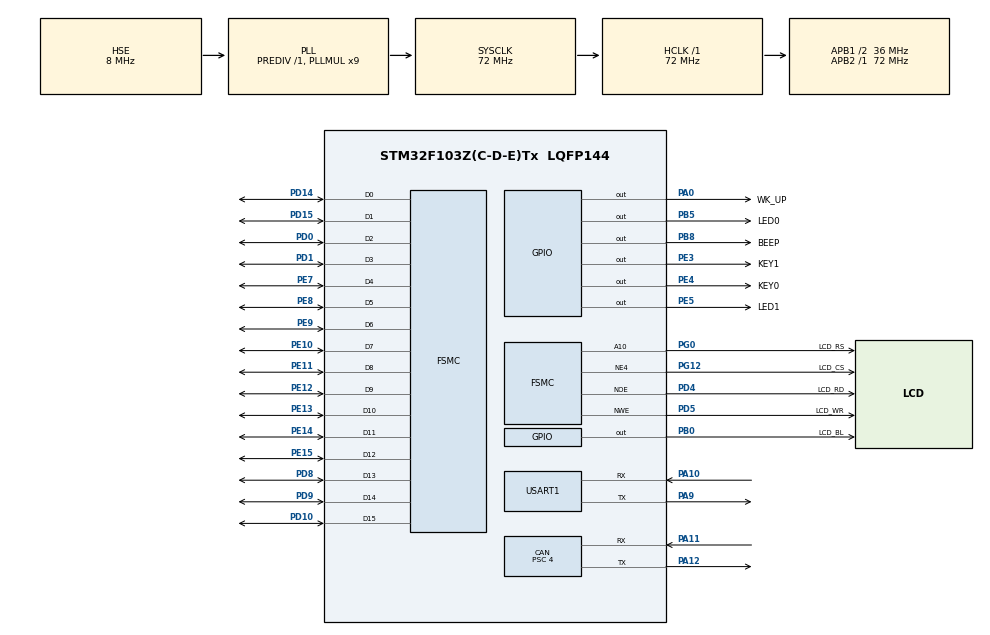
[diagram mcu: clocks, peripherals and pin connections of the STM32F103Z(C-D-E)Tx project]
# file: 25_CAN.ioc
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CAN.BS1=CAN_BS1_9TQ
CAN.BS2=CAN_BS2_8TQ
CAN.CalculateBaudRate=500000
CAN.CalculateTimeBit=2000
CAN.CalculateTimeQuantum=111.11111111111111
CAN.Mode=CAN_MODE_LOOPBACK
CAN.NART=ENABLE
CAN.Prescaler=4
CAN.SJW=CAN_SJW_1TQ
FSMC.AddressSetupTime1=0
FSMC.BusTurnAroundDuration1=15
FSMC.DataSetupTime1=15
FSMC.ExtendedAddressSetupTime1=0
FSMC.ExtendedDataSetupTime1=1
FSMC.ExtendedMode1=FSMC_EXTENDED_MODE_ENABLE
Mcu.Family=STM32F1
Mcu.Name=STM32F103Z(C-D-E)Tx
Mcu.Package=LQFP144
NVIC.PriorityGroup=NVIC_PRIORITYGROUP_2
NVIC.USART1_IRQn=true\:2\:2\:true\:false\:true\:true\:true\:true
OSC_IN.Mode=HSE-External-Oscillator
OSC_IN.Signal=RCC_OSC_IN
OSC_OUT.Mode=HSE-External-Oscillator
OSC_OUT.Signal=RCC_OSC_OUT
PA0-WKUP.GPIO_Label=WK_UP
PA0-WKUP.GPIO_PuPd=GPIO_PULLDOWN
PA0-WKUP.GPIO_Speed=GPIO_SPEED_FREQ_HIGH
PA0-WKUP.PinState=GPIO_PIN_RESET
PA0-WKUP.Signal=GPIO_Output
PA10.Mode=Asynchronous
PA10.Signal=USART1_RX
PA11.Mode=CAN_Activate
PA11.Signal=CAN_RX
PA12.Mode=CAN_Activate
PA12.Signal=CAN_TX
PA13.Mode=Serial_Wire
PA13.Signal=SYS_JTMS-SWDIO
PA14.Mode=Serial_Wire
PA14.Signal=SYS_JTCK-SWCLK
PA9.Mode=Asynchronous
PA9.Signal=USART1_TX
PB0.GPIO_Label=LCD_BL
PB0.GPIO_PuPd=GPIO_PULLUP
PB0.GPIO_Speed=GPIO_SPEED_FREQ_HIGH
PB0.PinState=GPIO_PIN_SET
PB0.Signal=GPIO_Output
PB5.GPIO_Label=LED0
PB5.GPIO_PuPd=GPIO_PULLUP
PB5.GPIO_Speed=GPIO_SPEED_FREQ_HIGH
PB5.PinState=GPIO_PIN_SET
PB5.Signal=GPIO_Output
PB8.GPIO_Label=BEEP
PB8.GPIO_ModeDefaultOutputPP=GPIO_MODE_OUTPUT_PP
PB8.GPIO_PuPd=GPIO_PULLDOWN
PB8.GPIO_Speed=GPIO_SPEED_FREQ_HIGH
PB8.PinState=GPIO_PIN_RESET
PB8.Signal=GPIO_Output
PC14-OSC32_IN.Mode=LSE-External-Oscillator
PC14-OSC32_IN.Signal=RCC_OSC32_IN
PC15-OSC32_OUT.Mode=LSE-External-Oscillator
PC15-OSC32_OUT.Signal=RCC_OSC32_OUT
PD0.Signal=FSMC_D2_DA2
PD1.Signal=FSMC_D3_DA3
PD10.Signal=FSMC_D15_DA15
PD14.Signal=FSMC_D0_DA0
PD15.Signal=FSMC_D1_DA1
PD4.GPIO_Label=LCD_RD
PD4.Signal=FSMC_NOE
PD5.GPIO_Label=LCD_WR
PD5.Signal=FSMC_NWE
PD8.Signal=FSMC_D13_DA13
PD9.Signal=FSMC_D14_DA14
PE10.Signal=FSMC_D7_DA7
PE11.Signal=FSMC_D8_DA8
PE12.Signal=FSMC_D9_DA9
PE13.Signal=FSMC_D10_DA10
PE14.Signal=FSMC_D11_DA11
PE15.Signal=FSMC_D12_DA12
PE3.GPIO_Label=KEY1
PE3.GPIO_PuPd=GPIO_PULLUP
PE3.GPIO_Speed=GPIO_SPEED_FREQ_HIGH
PE3.PinState=GPIO_PIN_SET
PE3.Signal=GPIO_Output
PE4.GPIO_Label=KEY0
PE4.GPIO_PuPd=GPIO_PULLUP
PE4.GPIO_Speed=GPIO_SPEED_FREQ_HIGH
PE4.PinState=GPIO_PIN_SET
PE4.Signal=GPIO_Output
PE5.GPIO_Label=LED1
PE5.GPIO_PuPd=GPIO_PULLUP
PE5.GPIO_Speed=GPIO_SPEED_FREQ_HIGH
PE5.PinState=GPIO_PIN_SET
PE5.Signal=GPIO_Output
PE7.Signal=FSMC_D4_DA4
PE8.Signal=FSMC_D5_DA5
PE9.Signal=FSMC_D6_DA6
PG0.GPIO_Label=LCD_RS
PG0.Signal=FSMC_A10
PG12.GPIO_Label=LCD_CS
PG12.Mode=NorPsramChipSelect4_1
PG12.Signal=FSMC_NE4
ProjectManager.HeapSize=0x200
ProjectManager.StackSize=0x400
ProjectManager.TargetToolchain=STM32CubeIDE
RCC.AHBFreq_Value=72000000
RCC.APB1CLKDivider=RCC_HCLK_DIV2
RCC.APB1Freq_Value=36000000
RCC.APB1TimFreq_Value=72000000
RCC.APB2Freq_Value=72000000
RCC.APB2TimFreq_Value=72000000
RCC.HCLKFreq_Value=72000000
RCC.PLLMUL=RCC_PLL_MUL9
RCC.PLLSourceVirtual=RCC_PLLSOURCE_HSE
RCC.SYSCLKFreq_VALUE=72000000
RCC.SYSCLKSource=RCC_SYSCLKSOURCE_PLLCLK
RCC.USBFreq_Value=72000000
SH.FSMC_A10.0=FSMC_A10,A10_1
SH.FSMC_D0_DA0.0=FSMC_D0,16b-d1
SH.FSMC_D10_DA10.0=FSMC_D10,16b-d1
SH.FSMC_D11_DA11.0=FSMC_D11,16b-d1
SH.FSMC_D12_DA12.0=FSMC_D12,16b-d1
SH.FSMC_D13_DA13.0=FSMC_D13,16b-d1
SH.FSMC_D14_DA14.0=FSMC_D14,16b-d1
SH.FSMC_D15_DA15.0=FSMC_D15,16b-d1
SH.FSMC_D1_DA1.0=FSMC_D1,16b-d1
SH.FSMC_D2_DA2.0=FSMC_D2,16b-d1
SH.FSMC_D3_DA3.0=FSMC_D3,16b-d1
SH.FSMC_D4_DA4.0=FSMC_D4,16b-d1
SH.FSMC_D5_DA5.0=FSMC_D5,16b-d1
SH.FSMC_D6_DA6.0=FSMC_D6,16b-d1
SH.FSMC_D7_DA7.0=FSMC_D7,16b-d1
SH.FSMC_D8_DA8.0=FSMC_D8,16b-d1
SH.FSMC_D9_DA9.0=FSMC_D9,16b-d1
SH.FSMC_NOE.0=FSMC_NOE,Lcd1
SH.FSMC_NWE.0=FSMC_NWE,Lcd1
USART1.VirtualMode=VM_ASYNC
board=custom

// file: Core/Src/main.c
/* USER CODE BEGIN Header */

/* USER CODE END Header */
#include "main.h"
#include "can.h"
#include "usart.h"
#include "gpio.h"
#include "fsmc.h"

/* USER CODE BEGIN Includes */
#include "../../BSP/LED/led.h"
#include "../../BSP/BEEP/beep.h"
#include "../../BSP/KEY/key.h"
#include "../../BSP/LCD/lcd.h"
#include "../../SYSTEM/delay/delay.h"
#include "../../SYSTEM/sys/sys.h"
/* USER CODE END Includes */

void SystemClock_Config(void);

int main(void)
{
  /* USER CODE BEGIN 1 */
    uint8_t key;
    uint8_t i = 0, t = 0;
    uint8_t cnt = 0;
    uint8_t canbuf[8];
    uint8_t rxlen = 0;
    uint8_t res;
    uint8_t mode = 1; /* CAN工作模式: 0,正常模式; 1,回环模式 */
  /* USER CODE END 1 */

  /* MCU Configuration--------------------------------------------------------*/

  /* Reset of all peripherals, Initializes the Flash interface and the Systick. */
  HAL_Init();

  /* Configure the system clock */
  SystemClock_Config();

  /* USER CODE BEGIN SysInit */
  delay_init(72);						   /* 初始化延时函数 */
  /* USER CODE END SysInit */

  /* Initialize all configured peripherals */
  MX_GPIO_Init();
  MX_FSMC_Init();
  MX_USART1_UART_Init();
  MX_CAN_Init();
  /* USER CODE BEGIN 2 */
  lcd_init();                                         /* 初始化LCD */
  lcd_show_string(30, 50, 200, 16, 16, "STM32", RED);
  lcd_show_string(30, 70, 200, 16, 16, "CAN TEST", RED);
  lcd_show_string(30, 90, 200, 16, 16, "ATOM@ALIENTEK", RED);
  lcd_show_string(30, 110, 200, 16, 16, "LoopBack Mode", RED);
  lcd_show_string(30, 130, 200, 16, 16, "KEY0:Send KEK_UP:Mode", RED); /* 显示提示信息 */

  lcd_show_string(30, 150, 200, 16, 16, "Count:", RED);        /* 显示当前计数值 */
  lcd_show_string(30, 170, 200, 16, 16, "Send Data:", RED);    /* 提示发送的数据 */
  lcd_show_string(30, 230, 200, 16, 16, "Receive Data:", RED); /* 提示接收到的数据 */
  /* USER CODE END 2 */

  /* Infinite loop */
  /* USER CODE BEGIN WHILE */
  while (1)
  {
	  key = key_scan(0);

	  if (key == KEY0_PRES) /* KEY0按下,发送一次数据 */
	  {
		  for (i = 0; i < 8; i++)
		  {
			  canbuf[i] = cnt + i; /* 填充发送缓冲区 */

			  if (i < 4)
			  {
				  lcd_show_xnum(30 + i * 32, 190, canbuf[i], 3, 16, 0X80, BLUE); /* 显示数据 */
			  }
			  else
			  {
				  lcd_show_xnum(30 + (i - 4) * 32, 210, canbuf[i], 3, 16, 0X80, BLUE); /* 显示数据 */
			  }
		  }

		  res = can_send_msg(0X12, canbuf, 8); /* ID = 0X12, 发送8个字节 */

		  if (res)
		  {
			  lcd_show_string(30 + 80, 170, 200, 16, 16, "Failed", BLUE); /* 提示发送失败 */
		  }
		  else
		  {
			  lcd_show_string(30 + 80, 170, 200, 16, 16, "OK    ", BLUE); /* 提示发送成功 */
		  }
	  }
	  else if (key == WKUP_PRES) /* WK_UP按下，改变CAN的工作模式 */
	  {
		  mode = !mode;

		  if (mode == 0) /* 正常模式，需要2个开发板 */
		  {
			  can_set_mode(CAN_MODE_NORMAL);		/* CAN正常模式初始化, 正常模式, 波特率500Kbps */
			  lcd_show_string(30, 110, 200, 16, 16, "Nnormal Mode ", RED);
		  }
		  else /* 回环模式,一个开发板就可以测试了. */
		  {
			  can_set_mode(CAN_MODE_LOOPBACK);		/* CAN回环模式初始化, 回环模式, 波特率500Kbps */
			  lcd_show_string(30, 110, 200, 16, 16, "LoopBack Mode", RED);
		  }
	  }

	  rxlen = can_receive_msg(0X12, canbuf); /* CAN ID = 0X12, 接收数据查询 */

	  if (rxlen) /* 接收到有数据 */
	  {
		  lcd_fill(30, 270, 130, 310, WHITE); /* 清除之前的显示 */

		  for (i = 0; i < rxlen; i++)
		  {
			  if (i < 4)
			  {
				  lcd_show_xnum(30 + i * 32, 250, canbuf[i], 3, 16, 0X80, BLUE); /* 显示数据 */
			  }
			  else
			  {
				  lcd_show_xnum(30 + (i - 4) * 32, 270, canbuf[i], 3, 16, 0X80, BLUE); /* 显示数据 */
			  }
		  }
	  }

	  t++;
	  delay_ms(10);

	  if (t == 20)
	  {
		  LED0_TOGGLE(); /* 提示系统正在运行 */
		  t = 0;
		  cnt++;
		  lcd_show_xnum(30 + 48, 150, cnt, 3, 16, 0X80, BLUE); /* 显示数据 */
	  }

    /* USER CODE END WHILE */

  }
}

void SystemClock_Config(void)
{
  RCC_OscInitTypeDef RCC_OscInitStruct = {0};
  RCC_ClkInitTypeDef RCC_ClkInitStruct = {0};

  /** Initializes the RCC Oscillators according to the specified parameters
  * in the RCC_OscInitTypeDef structure.
  */
  RCC_OscInitStruct.OscillatorType = RCC_OSCILLATORTYPE_HSE;
  RCC_OscInitStruct.HSEState = RCC_HSE_ON;
  RCC_OscInitStruct.HSEPredivValue = RCC_HSE_PREDIV_DIV1;
  RCC_OscInitStruct.HSIState = RCC_HSI_ON;
  RCC_OscInitStruct.PLL.PLLState = RCC_PLL_ON;
  RCC_OscInitStruct.PLL.PLLSource = RCC_PLLSOURCE_HSE;
  RCC_OscInitStruct.PLL.PLLMUL = RCC_PLL_MUL9;
  if (HAL_RCC_OscConfig(&RCC_OscInitStruct) != HAL_OK)
  {
    Error_Handler();
  }

  /** Initializes the CPU, AHB and APB buses clocks
  */
  RCC_ClkInitStruct.ClockType = RCC_CLOCKTYPE_HCLK|RCC_CLOCKTYPE_SYSCLK
                              |RCC_CLOCKTYPE_PCLK1|RCC_CLOCKTYPE_PCLK2;
  RCC_ClkInitStruct.SYSCLKSource = RCC_SYSCLKSOURCE_PLLCLK;
  RCC_ClkInitStruct.AHBCLKDivider = RCC_SYSCLK_DIV1;
  RCC_ClkInitStruct.APB1CLKDivider = RCC_HCLK_DIV2;
  RCC_ClkInitStruct.APB2CLKDivider = RCC_HCLK_DIV1;

  if (HAL_RCC_ClockConfig(&RCC_ClkInitStruct, FLASH_LATENCY_2) != HAL_OK)
  {
    Error_Handler();
  }
}

void Error_Handler(void)
{
  __disable_irq();
  while (1)
  {
  }
}
